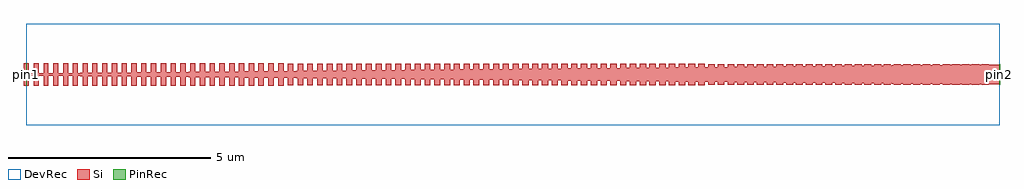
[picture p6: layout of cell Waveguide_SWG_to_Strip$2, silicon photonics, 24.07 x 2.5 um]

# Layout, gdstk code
import gdstk
lib = gdstk.Library(unit=1e-6, precision=1e-09)
def R(c, l, rs):  # rectangles x0, y0, x1, y1
    for r in rs: c.add(gdstk.rectangle(r[:2], r[2:], *l))
def P(c, l, *ps):  # polygons
    for p in ps: c.add(gdstk.Polygon(p, *l))
Si = (1, 0)
PinRec = (1, 10)
DevRec = (68, 0)

waveguide_swg_to_strip_2 = lib.new_cell('Waveguide_SWG_to_Strip$2')
R(waveguide_swg_to_strip_2, Si, [(-0.06,-0.28,0.059,0.28), (0.18,-0.279,0.301,0.279), (0.421,-0.279,0.543,0.279), (0.662,-0.279,0.784,0.279), (0.903,-0.278,1.026,0.278), (1.144,-0.278,1.268,0.278), (1.385,-0.278,1.509,0.278), (1.626,-0.277,1.751,0.277), (1.867,-0.277,1.992,0.277), (2.108,-0.277,2.234,0.277), (2.349,-0.276,2.476,0.276), (2.59,-0.276,2.717,0.276), (2.831,-0.276,2.959,0.276), (3.072,-0.276,3.2,0.276), (3.313,-0.275,3.442,0.275), (3.554,-0.275,3.684,0.275), (3.795,-0.275,3.925,0.275), (4.036,-0.274,4.167,0.274), (4.277,-0.274,4.408,0.274), (4.518,-0.274,4.65,0.274), (4.759,-0.273,4.892,0.273), (5,-0.273,5.133,0.273), (5.241,-0.273,5.375,0.273), (5.482,-0.273,5.616,0.273), (5.723,-0.272,5.858,0.272), (5.964,-0.272,6.1,0.272), (6.205,-0.272,6.341,0.272), (6.446,-0.271,6.583,0.271), (6.687,-0.271,6.825,0.271), (6.928,-0.271,7.066,0.271), (7.169,-0.27,7.308,0.27), (7.41,-0.27,7.549,0.27), (7.651,-0.27,7.791,0.27), (7.892,-0.27,8.033,0.27), (8.133,-0.269,8.274,0.269), (8.374,-0.269,8.516,0.269), (8.615,-0.269,8.757,0.269), (8.856,-0.268,8.999,0.268), (9.097,-0.268,9.241,0.268), (9.338,-0.268,9.482,0.268), (9.579,-0.267,9.724,0.267), (9.82,-0.267,9.965,0.267), (10.061,-0.267,10.207,0.267), (10.302,-0.266,10.449,0.266), (10.543,-0.266,10.69,0.266), (10.784,-0.266,10.932,0.266), (11.025,-0.266,11.173,0.266), (11.266,-0.265,11.415,0.265), (11.507,-0.265,11.657,0.265), (11.748,-0.265,11.898,0.265), (11.989,-0.264,12.14,0.264), (12.23,-0.264,12.382,0.264), (12.471,-0.264,12.623,0.264), (12.712,-0.263,12.865,0.263), (12.953,-0.263,13.106,0.263), (13.194,-0.263,13.348,0.263), (13.435,-0.263,13.59,0.263), (13.676,-0.262,13.831,0.262), (13.917,-0.262,14.073,0.262), (14.158,-0.262,14.314,0.262), (14.399,-0.261,14.556,0.261), (14.64,-0.261,14.798,0.261), (14.881,-0.261,15.039,0.261), (15.122,-0.26,15.281,0.26), (15.363,-0.26,15.522,0.26), (15.604,-0.26,15.764,0.26), (15.845,-0.26,16.006,0.26), (16.086,-0.259,16.247,0.259), (16.327,-0.259,16.489,0.259), (16.568,-0.259,16.73,0.259), (16.809,-0.258,16.972,0.258), (17.05,-0.258,17.214,0.258), (17.291,-0.258,17.455,0.258), (17.532,-0.257,17.697,0.257), (17.773,-0.257,17.939,0.257), (18.014,-0.257,18.18,0.257), (18.255,-0.256,18.422,0.256), (18.496,-0.256,18.663,0.256), (18.737,-0.256,18.905,0.256), (18.978,-0.256,19.147,0.256), (19.219,-0.255,19.388,0.255), (19.46,-0.255,19.63,0.255), (19.701,-0.255,19.871,0.255), (19.942,-0.254,20.113,0.254), (20.183,-0.254,20.355,0.254), (20.424,-0.254,20.596,0.254), (20.665,-0.253,20.838,0.253), (20.906,-0.253,21.079,0.253), (21.147,-0.253,21.321,0.253), (21.388,-0.253,21.563,0.253), (21.629,-0.252,21.804,0.252), (21.87,-0.252,22.046,0.252), (22.111,-0.252,22.287,0.252), (22.352,-0.251,22.529,0.251), (22.593,-0.251,22.771,0.251), (22.834,-0.251,23.012,0.251), (23.075,-0.25,23.254,0.25), (23.316,-0.25,23.496,0.25), (23.557,-0.25,23.737,0.25)])
P(waveguide_swg_to_strip_2, Si, [(24,-0.25),(0,-0.03),(0,0.03),(24,0.25)])
R(waveguide_swg_to_strip_2, DevRec, [(0,-1.25,24,1.25)])
waveguide_swg_to_strip_2.add(gdstk.FlexPath([(0.01,0),(-0.01,0)], 0.56, ends="flush", simple_path=True, layer=1, datatype=10))  # PinRec
waveguide_swg_to_strip_2.add(gdstk.FlexPath([(23.99,0),(24.01,0)], 0.5, ends="flush", simple_path=True, layer=1, datatype=10))  # PinRec
waveguide_swg_to_strip_2.add(gdstk.Label('pin1', (0,0), layer=1, texttype=10))
waveguide_swg_to_strip_2.add(gdstk.Label('pin2', (24,0), layer=1, texttype=10))

lib.write_gds('Waveguide_SWG_to_Strip_2.gds')
